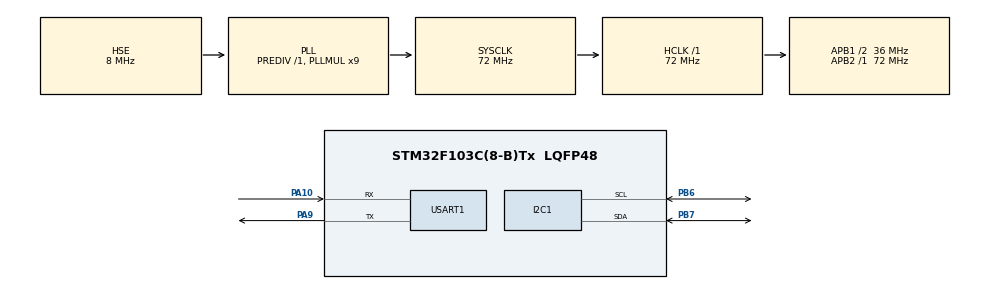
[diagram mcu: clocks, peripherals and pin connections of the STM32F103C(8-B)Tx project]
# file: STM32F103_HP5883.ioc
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Mcu.Family=STM32F1
Mcu.Name=STM32F103C(8-B)Tx
Mcu.Package=LQFP48
NVIC.PriorityGroup=NVIC_PRIORITYGROUP_4
PA10.Mode=Asynchronous
PA10.Signal=USART1_RX
PA13.Mode=Serial_Wire
PA13.Signal=SYS_JTMS-SWDIO
PA14.Mode=Serial_Wire
PA14.Signal=SYS_JTCK-SWCLK
PA9.Mode=Asynchronous
PA9.Signal=USART1_TX
PB6.Mode=I2C
PB6.Signal=I2C1_SCL
PB7.Mode=I2C
PB7.Signal=I2C1_SDA
PD0-OSC_IN.Mode=HSE-External-Oscillator
PD0-OSC_IN.Signal=RCC_OSC_IN
PD1-OSC_OUT.Mode=HSE-External-Oscillator
PD1-OSC_OUT.Signal=RCC_OSC_OUT
ProjectManager.HeapSize=0x200
ProjectManager.StackSize=0x400
ProjectManager.TargetToolchain=STM32CubeIDE
RCC.AHBFreq_Value=72000000
RCC.APB1CLKDivider=RCC_HCLK_DIV2
RCC.APB1Freq_Value=36000000
RCC.APB1TimFreq_Value=72000000
RCC.APB2Freq_Value=72000000
RCC.APB2TimFreq_Value=72000000
RCC.HCLKFreq_Value=72000000
RCC.PLLMUL=RCC_PLL_MUL9
RCC.PLLSourceVirtual=RCC_PLLSOURCE_HSE
RCC.SYSCLKFreq_VALUE=72000000
RCC.SYSCLKSource=RCC_SYSCLKSOURCE_PLLCLK
RCC.USBFreq_Value=72000000
USART1.VirtualMode=VM_ASYNC
board=custom

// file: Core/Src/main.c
/* USER CODE BEGIN Header */
/**
  ******************************************************************************
  * @file           : main.c
  * @brief          : Main program body
  ******************************************************************************
  * @attention
  *
  * Copyright (c) 2026 STMicroelectronics.
  * All rights reserved.
  *
  * This software is licensed under terms that can be found in the LICENSE file
  * in the root directory of this software component.
  * If no LICENSE file comes with this software, it is provided AS-IS.
  *
  ******************************************************************************
  */
/* USER CODE END Header */
#include "main.h"

/* USER CODE BEGIN Includes */
#include <stdio.h>
#include <string.h>
#include "hp5883.h"
/* USER CODE END Includes */

I2C_HandleTypeDef hi2c1;

UART_HandleTypeDef huart1;

/* USER CODE BEGIN PV */
HP5883_HandleTypeDef compass;
#define FLASH_COMPASS_ADDR  0x0800FC00 // Робоча сторінка 63 для збережання даних

char uart_log[128];                     // Буфер для логів в UART
/* USER CODE END PV */

void SystemClock_Config(void);
static void MX_GPIO_Init(void);
static void MX_I2C1_Init(void);
static void MX_USART1_UART_Init(void);

int main(void)
{

  /* MCU Configuration--------------------------------------------------------*/

  /* Reset of all peripherals, Initializes the Flash interface and the Systick. */
  HAL_Init();

  /* Configure the system clock */
  SystemClock_Config();

  /* Initialize all configured peripherals */
  MX_GPIO_Init();
  MX_I2C1_Init();
  MX_USART1_UART_Init();
  /* USER CODE BEGIN 2 */
  // 1. Ініціалізуємо залізо датчика
  if(HP5883_Init(&compass, &hi2c1) == HAL_OK)
  {
	  sprintf(uart_log, "Компас HP5883 успішно ініціалізовано!\r\n");
  }
  else
  {
	  sprintf(uart_log, "Помилка ініціалізації компаса!\r\n");
  }
  HAL_UART_Transmit(&huart1, (uint8_t*)uart_log, strlen(uart_log), 100);

  // 2. Читаємо збережені раніше коефіцієнти прямо з Flash пам'яті
  compass.x_offset = *(volatile int16_t*)(FLASH_COMPASS_ADDR);
  compass.y_offset = *(volatile int16_t*)(FLASH_COMPASS_ADDR + 2);
  // 3. Валідація: якщо у Flash лежить 0xFFFF (чиста сторінка), значить калібрування ні разу не робилося
  if(compass.x_offset == (int16_t)0xFFFF && compass.y_offset == (int16_t)0xFFFF)
  {
	  sprintf(uart_log, "Калібрування не знайдено! Покрутіть робота...\r\n");
	  HAL_UART_Transmit(&huart1, (uint8_t*)uart_log, strlen(uart_log), 100);

      // Запускаємо калібрування на 15 секунд
      HP5883_RunCalibration(&compass, 15000);

      // Записуємо результати у Flash за допомогою твоїх низькорівневих функцій шаблону:
      HAL_FLASH_Unlock();
      // Обов'язково очищуємо сторінку перед записом!
      // Налаштовуємо структуру для стирання сторінки
      FLASH_EraseInitTypeDef eraseConfig;
      eraseConfig.TypeErase = FLASH_TYPEERASE_PAGES; // Вказуємо, що перемо сторінками
      eraseConfig.PageAddress = FLASH_COMPASS_ADDR;  // Адреса сторінки, яку треба стерти
      eraseConfig.NbPages = 1;                       // Кількість сторінок для стирання (всього 1)

      uint32_t pageError = 0; // Сюди запишеться адреса помилки, якщо стирання провалиться

      //Викликаємо функцію стирання сторінки
      if (HAL_FLASHEx_Erase(&eraseConfig, &pageError) == HAL_OK)
      {
          // Записуємо по 2 байти (Half-Word)
          HAL_FLASH_Program(FLASH_TYPEPROGRAM_HALFWORD, FLASH_COMPASS_ADDR, (uint16_t)compass.x_offset);
          HAL_FLASH_Program(FLASH_TYPEPROGRAM_HALFWORD, FLASH_COMPASS_ADDR + 2, (uint16_t)compass.y_offset);
      }

      HAL_FLASH_Lock();

      sprintf(uart_log, "Коефіцієнти успішно збережені у Flash!\r\n");
      HAL_UART_Transmit(&huart1, (uint8_t*)uart_log, strlen(uart_log), 100);
  } else {
      sprintf(uart_log, "Завантажено з Flash -> Offset X: %d | Y: %d\r\n", compass.x_offset, compass.y_offset);
      HAL_UART_Transmit(&huart1, (uint8_t*)uart_log, strlen(uart_log), 100);
  }

  /* USER CODE END 2 */

  /* Infinite loop */
  /* USER CODE BEGIN WHILE */
  /* Основний неблокуючий цикл */
  uint32_t tick = 0;
  while (1)
  {
    if (HAL_GetTick() - tick >= 200)
    {
       tick = HAL_GetTick();

       if (HP5883_Read(&compass) == HAL_OK)
       {
              sprintf(uart_log, "Кут: %.1f°\r\n", compass.heading);
              HAL_UART_Transmit(&huart1, (uint8_t*)uart_log, strlen(uart_log), 100);
       }
    }

	/* USER CODE END WHILE */

  }
}

void SystemClock_Config(void)
{
  RCC_OscInitTypeDef RCC_OscInitStruct = {0};
  RCC_ClkInitTypeDef RCC_ClkInitStruct = {0};

  /** Initializes the RCC Oscillators according to the specified parameters
  * in the RCC_OscInitTypeDef structure.
  */
  RCC_OscInitStruct.OscillatorType = RCC_OSCILLATORTYPE_HSE;
  RCC_OscInitStruct.HSEState = RCC_HSE_ON;
  RCC_OscInitStruct.HSEPredivValue = RCC_HSE_PREDIV_DIV1;
  RCC_OscInitStruct.HSIState = RCC_HSI_ON;
  RCC_OscInitStruct.PLL.PLLState = RCC_PLL_ON;
  RCC_OscInitStruct.PLL.PLLSource = RCC_PLLSOURCE_HSE;
  RCC_OscInitStruct.PLL.PLLMUL = RCC_PLL_MUL9;
  if (HAL_RCC_OscConfig(&RCC_OscInitStruct) != HAL_OK)
  {
    Error_Handler();
  }

  /** Initializes the CPU, AHB and APB buses clocks
  */
  RCC_ClkInitStruct.ClockType = RCC_CLOCKTYPE_HCLK|RCC_CLOCKTYPE_SYSCLK
                              |RCC_CLOCKTYPE_PCLK1|RCC_CLOCKTYPE_PCLK2;
  RCC_ClkInitStruct.SYSCLKSource = RCC_SYSCLKSOURCE_PLLCLK;
  RCC_ClkInitStruct.AHBCLKDivider = RCC_SYSCLK_DIV1;
  RCC_ClkInitStruct.APB1CLKDivider = RCC_HCLK_DIV2;
  RCC_ClkInitStruct.APB2CLKDivider = RCC_HCLK_DIV1;

  if (HAL_RCC_ClockConfig(&RCC_ClkInitStruct, FLASH_LATENCY_2) != HAL_OK)
  {
    Error_Handler();
  }
}

static void MX_I2C1_Init(void)
{

  hi2c1.Instance = I2C1;
  hi2c1.Init.ClockSpeed = 100000;
  hi2c1.Init.DutyCycle = I2C_DUTYCYCLE_2;
  hi2c1.Init.OwnAddress1 = 0;
  hi2c1.Init.AddressingMode = I2C_ADDRESSINGMODE_7BIT;
  hi2c1.Init.DualAddressMode = I2C_DUALADDRESS_DISABLE;
  hi2c1.Init.OwnAddress2 = 0;
  hi2c1.Init.GeneralCallMode = I2C_GENERALCALL_DISABLE;
  hi2c1.Init.NoStretchMode = I2C_NOSTRETCH_DISABLE;
  if (HAL_I2C_Init(&hi2c1) != HAL_OK)
  {
    Error_Handler();
  }

}

static void MX_USART1_UART_Init(void)
{

  huart1.Instance = USART1;
  huart1.Init.BaudRate = 115200;
  huart1.Init.WordLength = UART_WORDLENGTH_8B;
  huart1.Init.StopBits = UART_STOPBITS_1;
  huart1.Init.Parity = UART_PARITY_NONE;
  huart1.Init.Mode = UART_MODE_TX_RX;
  huart1.Init.HwFlowCtl = UART_HWCONTROL_NONE;
  huart1.Init.OverSampling = UART_OVERSAMPLING_16;
  if (HAL_UART_Init(&huart1) != HAL_OK)
  {
    Error_Handler();
  }

}

static void MX_GPIO_Init(void)
{

  /* GPIO Ports Clock Enable */
  __HAL_RCC_GPIOD_CLK_ENABLE();
  __HAL_RCC_GPIOA_CLK_ENABLE();
  __HAL_RCC_GPIOB_CLK_ENABLE();

}

void Error_Handler(void)
{
  __disable_irq();
  while (1)
  {
  }
}
